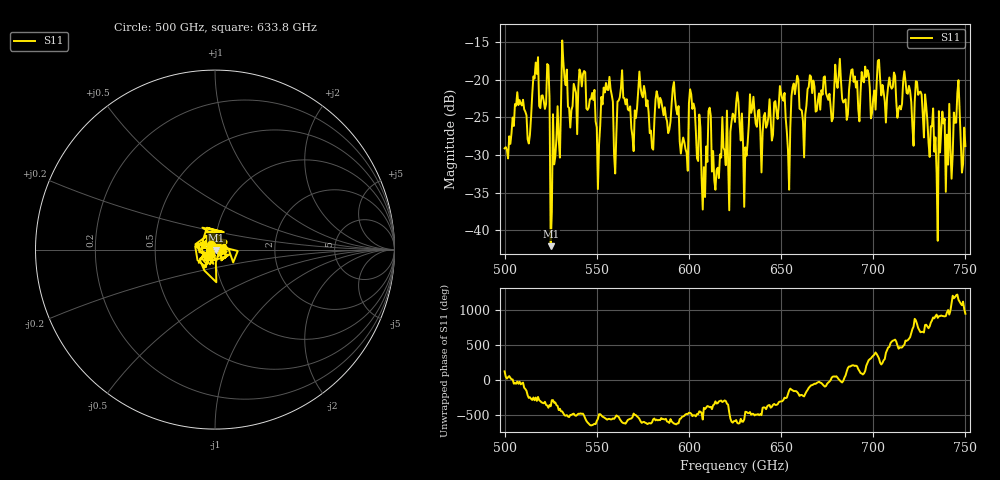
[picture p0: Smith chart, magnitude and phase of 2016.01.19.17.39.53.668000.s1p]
!Created with skrf (http://scikit-rf.org).
# GHz S RI R 50.0
!freq ReS11 ImS11
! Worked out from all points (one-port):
!   401 points, 500 GHz to 750 GHz, reference 50 ohm
!   lowest |S11| = -42.1 dB at 525 GHz (marker M1), VSWR 1.02, Z = 50.8 - j0.199 ohm
!   |S11| at or under -10 dB: start of sweep to end of sweep
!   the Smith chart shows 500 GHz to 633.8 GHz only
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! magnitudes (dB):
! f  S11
! 500 GHz  -29.1
! 506.9 GHz  -21.7
! 513.1 GHz  -28.5
! 516.9 GHz  -17.7
! 523.1 GHz  -17.9
! 525 GHz  -42.1
! 526.2 GHz  -24.6
! 531.2 GHz  -14.8
! 542.5 GHz  -19.3
! 550.6 GHz  -34.5
! 562.5 GHz  -22.3
! 593.8 GHz  -24.6
! 598.1 GHz  -29.2
! 601.9 GHz  -23.9
! 608.1 GHz  -31.6
! 610.6 GHz  -24.2
! 615 GHz  -32.0
! 625 GHz  -25.6
! 630.6 GHz  -29.0
! 634.4 GHz  -23.8
! 650.6 GHz  -22.5
! 653.8 GHz  -29.4
! 656.2 GHz  -21.0
! 687.5 GHz  -19.8
! 718.8 GHz  -21.9
! 733.8 GHz  -27.7
! 745 GHz  -25.7
! 750 GHz  -28.8
